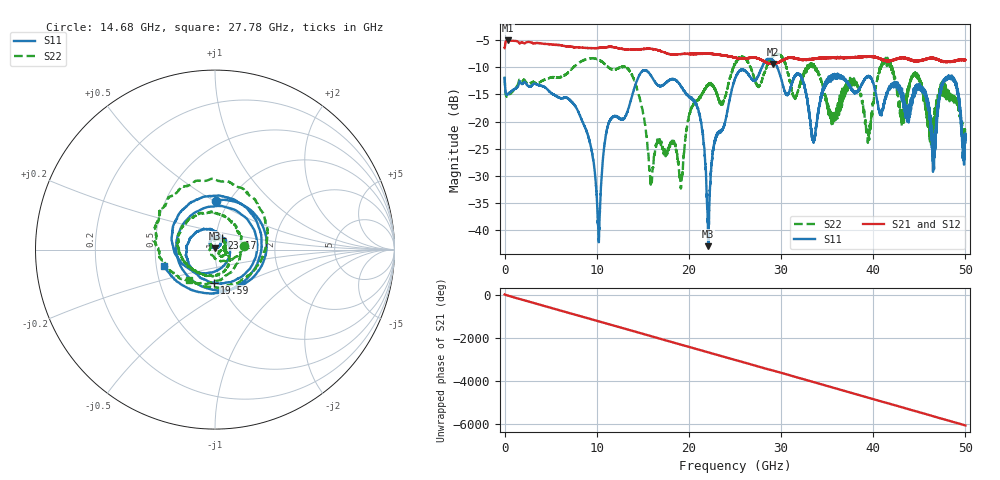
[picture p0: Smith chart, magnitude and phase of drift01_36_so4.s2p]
!Created with skrf (http://scikit-rf.org).
# Hz S RI R 50.0
!freq ReS11 ImS11 ReS21 ImS21 ReS12 ImS12 ReS22 ImS22
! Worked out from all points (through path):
!   10001 points, 300 kHz to 50 GHz, reference 50 ohm
!   highest |S21| = -5.05 dB at 325.3 MHz (marker M1); lowest = -9.4 dB at 29.08 GHz (marker M2)
!   group delay of S21, straight-line fit = 336 ps
!   lowest |S11| = -43.0 dB at 22.09 GHz (marker M3), VSWR 1.01, Z = 49.9 + j0.692 ohm
!   |S11| at or under -10 dB: start of sweep to 27.91 GHz; 29.59 GHz to end of sweep
!   |S22| runs from -32.4 to -7.5 dB; largest |S21 - S12| = 0.012
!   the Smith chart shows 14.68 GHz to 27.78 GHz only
!   S11 on the Smith chart (normalised r, x): 14.68 GHz: 0.87, +0.51; 19.59 GHz: 0.93, -0.35; 23.17 GHz: 1.07, +0.14; 27.78 GHz: 0.55, -0.11
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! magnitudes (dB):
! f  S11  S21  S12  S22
! 300 kHz  -12.0  -6.4  -6.6  -11.8
! 325.3 MHz  -15.0  -5.1  -5.1  -15.3
! 8.335 GHz  -19.6  -6.4  -6.4  -8.9
! 10.21 GHz  -41.8  -6.4  -6.4  -8.6
! 11.23 GHz  -20.6  -6.3  -6.3  -10.0
! 14.68 GHz  -11.3  -6.7  -6.6  -15.8
! 15.88 GHz  -11.5  -6.6  -6.6  -31.0
! 16.67 GHz  -13.4  -6.9  -6.8  -23.2
! 19.59 GHz  -14.7  -7.5  -7.5  -23.6
! 21.23 GHz  -19.5  -7.5  -7.5  -15.5
! 22.09 GHz  -43.0  -7.5  -7.5  -13.1
! 23.17 GHz  -22.2  -7.7  -7.7  -15.8
! 25 GHz  -12.1  -8.2  -8.3  -9.5
! 27.78 GHz  -10.5  -8.6  -8.6  -13.0
! 29.08 GHz  -8.6  -9.4  -9.4  -8.0
! 33.34 GHz  -22.6  -8.5  -8.5  -9.6
! 39.47 GHz  -11.7  -8.0  -8.0  -22.3
! 41.67 GHz  -13.8  -8.8  -8.8  -9.1
! 45.36 GHz  -13.9  -8.7  -8.7  -14.4
! 46.55 GHz  -26.3  -8.2  -8.3  -20.6
! 48.56 GHz  -11.9  -8.9  -8.9  -15.3
! 50 GHz  -23.3  -8.7  -8.7  -22.6
